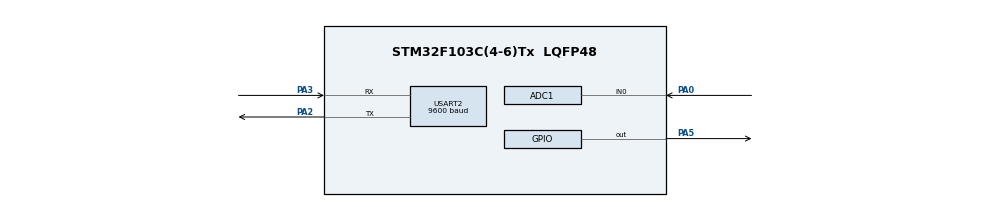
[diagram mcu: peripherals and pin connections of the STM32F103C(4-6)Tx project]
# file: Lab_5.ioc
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ADC1.Channel-0\#ChannelRegularConversion=ADC_CHANNEL_0
ADC1.ContinuousConvMode=ENABLE
ADC1.NbrOfConversionFlag=1
ADC1.Rank-0\#ChannelRegularConversion=1
ADC1.SamplingTime-0\#ChannelRegularConversion=ADC_SAMPLETIME_1CYCLE_5
ADC1.master=1
Mcu.Family=STM32F1
Mcu.Name=STM32F103C(4-6)Tx
Mcu.Package=LQFP48
NVIC.PriorityGroup=NVIC_PRIORITYGROUP_4
NVIC.TIM2_IRQn=true\:0\:0\:false\:false\:true\:true\:true\:true
NVIC.USART2_IRQn=true\:0\:0\:false\:false\:true\:true\:true\:true
PA0-WKUP.Signal=ADCx_IN0
PA2.Mode=Asynchronous
PA2.Signal=USART2_TX
PA3.Mode=Asynchronous
PA3.Signal=USART2_RX
PA5.Signal=GPIO_Output
ProjectManager.HeapSize=0x200
ProjectManager.StackSize=0x400
ProjectManager.TargetToolchain=STM32CubeIDE
RCC.APB1Freq_Value=8000000
RCC.APB2Freq_Value=8000000
SH.ADCx_IN0.0=ADC1_IN0,IN0
TIM2.Period=9
TIM2.Prescaler=7999
USART2.BaudRate=9600
USART2.VirtualMode=VM_ASYNC
VP_SYS_VS_ND.Mode=No_Debug
VP_TIM2_VS_ClockSourceINT.Mode=Internal
board=custom

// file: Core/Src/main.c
/* USER CODE BEGIN Header */
/**
  ******************************************************************************
  * @file           : main.c
  * @brief          : Main program body
  ******************************************************************************
  * @attention
  *
  * Copyright (c) 2025 STMicroelectronics.
  * All rights reserved.
  *
  * This software is licensed under terms that can be found in the LICENSE file
  * in the root directory of this software component.
  * If no LICENSE file comes with this software, it is provided AS-IS.
  *
  ******************************************************************************
  */
/* USER CODE END Header */
#include "main.h"

/* USER CODE BEGIN Includes */
#include "timer.h"
#include "processing.h"
/* USER CODE END Includes */

ADC_HandleTypeDef hadc1;

TIM_HandleTypeDef htim2;

UART_HandleTypeDef huart2;

void SystemClock_Config(void);
static void MX_GPIO_Init(void);
static void MX_ADC1_Init(void);
static void MX_TIM2_Init(void);
static void MX_USART2_UART_Init(void);

int main(void)
{

  /* MCU Configuration--------------------------------------------------------*/

  /* Reset of all peripherals, Initializes the Flash interface and the Systick. */
  HAL_Init();

  /* Configure the system clock */
  SystemClock_Config();

  /* Initialize all configured peripherals */
  MX_GPIO_Init();
  MX_ADC1_Init();
  MX_TIM2_Init();
  MX_USART2_UART_Init();
  /* USER CODE BEGIN 2 */
  HAL_ADC_Start(&hadc1);
  HAL_TIM_Base_Start_IT(&htim2);
  HAL_UART_Receive_IT(&huart2, (uint8_t*)&temp, 1);
  setTimer0(1000);
  /* USER CODE END 2 */

  /* Infinite loop */
  /* USER CODE BEGIN WHILE */
  while (1)
  {
	  if(buffer_flag == 1){
		  buffer_flag = 0;
		  command_parser_fsm();
	  }
	  uart_communiation_fsm();
	  if(timer0_flag == 1){
		  setTimer0(1000);
		  timer0_flag = 0;
		  HAL_GPIO_TogglePin(GPIOA, GPIO_PIN_5);
	  }
    /* USER CODE END WHILE */

  }
}

void SystemClock_Config(void)
{
  RCC_OscInitTypeDef RCC_OscInitStruct = {0};
  RCC_ClkInitTypeDef RCC_ClkInitStruct = {0};
  RCC_PeriphCLKInitTypeDef PeriphClkInit = {0};

  /** Initializes the RCC Oscillators according to the specified parameters
  * in the RCC_OscInitTypeDef structure.
  */
  RCC_OscInitStruct.OscillatorType = RCC_OSCILLATORTYPE_HSI;
  RCC_OscInitStruct.HSIState = RCC_HSI_ON;
  RCC_OscInitStruct.HSICalibrationValue = RCC_HSICALIBRATION_DEFAULT;
  RCC_OscInitStruct.PLL.PLLState = RCC_PLL_NONE;
  if (HAL_RCC_OscConfig(&RCC_OscInitStruct) != HAL_OK)
  {
    Error_Handler();
  }

  /** Initializes the CPU, AHB and APB buses clocks
  */
  RCC_ClkInitStruct.ClockType = RCC_CLOCKTYPE_HCLK|RCC_CLOCKTYPE_SYSCLK
                              |RCC_CLOCKTYPE_PCLK1|RCC_CLOCKTYPE_PCLK2;
  RCC_ClkInitStruct.SYSCLKSource = RCC_SYSCLKSOURCE_HSI;
  RCC_ClkInitStruct.AHBCLKDivider = RCC_SYSCLK_DIV1;
  RCC_ClkInitStruct.APB1CLKDivider = RCC_HCLK_DIV1;
  RCC_ClkInitStruct.APB2CLKDivider = RCC_HCLK_DIV1;

  if (HAL_RCC_ClockConfig(&RCC_ClkInitStruct, FLASH_LATENCY_0) != HAL_OK)
  {
    Error_Handler();
  }
  PeriphClkInit.PeriphClockSelection = RCC_PERIPHCLK_ADC;
  PeriphClkInit.AdcClockSelection = RCC_ADCPCLK2_DIV2;
  if (HAL_RCCEx_PeriphCLKConfig(&PeriphClkInit) != HAL_OK)
  {
    Error_Handler();
  }
}

static void MX_ADC1_Init(void)
{

  ADC_ChannelConfTypeDef sConfig = {0};

  /** Common config
  */
  hadc1.Instance = ADC1;
  hadc1.Init.ScanConvMode = ADC_SCAN_DISABLE;
  hadc1.Init.ContinuousConvMode = ENABLE;
  hadc1.Init.DiscontinuousConvMode = DISABLE;
  hadc1.Init.ExternalTrigConv = ADC_SOFTWARE_START;
  hadc1.Init.DataAlign = ADC_DATAALIGN_RIGHT;
  hadc1.Init.NbrOfConversion = 1;
  if (HAL_ADC_Init(&hadc1) != HAL_OK)
  {
    Error_Handler();
  }

  /** Configure Regular Channel
  */
  sConfig.Channel = ADC_CHANNEL_0;
  sConfig.Rank = ADC_REGULAR_RANK_1;
  sConfig.SamplingTime = ADC_SAMPLETIME_1CYCLE_5;
  if (HAL_ADC_ConfigChannel(&hadc1, &sConfig) != HAL_OK)
  {
    Error_Handler();
  }

}

static void MX_TIM2_Init(void)
{

  TIM_ClockConfigTypeDef sClockSourceConfig = {0};
  TIM_MasterConfigTypeDef sMasterConfig = {0};

  htim2.Instance = TIM2;
  htim2.Init.Prescaler = 7999;
  htim2.Init.CounterMode = TIM_COUNTERMODE_UP;
  htim2.Init.Period = 9;
  htim2.Init.ClockDivision = TIM_CLOCKDIVISION_DIV1;
  htim2.Init.AutoReloadPreload = TIM_AUTORELOAD_PRELOAD_DISABLE;
  if (HAL_TIM_Base_Init(&htim2) != HAL_OK)
  {
    Error_Handler();
  }
  sClockSourceConfig.ClockSource = TIM_CLOCKSOURCE_INTERNAL;
  if (HAL_TIM_ConfigClockSource(&htim2, &sClockSourceConfig) != HAL_OK)
  {
    Error_Handler();
  }
  sMasterConfig.MasterOutputTrigger = TIM_TRGO_RESET;
  sMasterConfig.MasterSlaveMode = TIM_MASTERSLAVEMODE_DISABLE;
  if (HAL_TIMEx_MasterConfigSynchronization(&htim2, &sMasterConfig) != HAL_OK)
  {
    Error_Handler();
  }

}

static void MX_USART2_UART_Init(void)
{

  huart2.Instance = USART2;
  huart2.Init.BaudRate = 9600;
  huart2.Init.WordLength = UART_WORDLENGTH_8B;
  huart2.Init.StopBits = UART_STOPBITS_1;
  huart2.Init.Parity = UART_PARITY_NONE;
  huart2.Init.Mode = UART_MODE_TX_RX;
  huart2.Init.HwFlowCtl = UART_HWCONTROL_NONE;
  huart2.Init.OverSampling = UART_OVERSAMPLING_16;
  if (HAL_UART_Init(&huart2) != HAL_OK)
  {
    Error_Handler();
  }

}

static void MX_GPIO_Init(void)
{
  GPIO_InitTypeDef GPIO_InitStruct = {0};

  /* GPIO Ports Clock Enable */
  __HAL_RCC_GPIOA_CLK_ENABLE();

  /*Configure GPIO pin Output Level */
  HAL_GPIO_WritePin(GPIOA, GPIO_PIN_5, GPIO_PIN_RESET);

  /*Configure GPIO pin : PA5 */
  GPIO_InitStruct.Pin = GPIO_PIN_5;
  GPIO_InitStruct.Mode = GPIO_MODE_OUTPUT_PP;
  GPIO_InitStruct.Pull = GPIO_NOPULL;
  GPIO_InitStruct.Speed = GPIO_SPEED_FREQ_LOW;
  HAL_GPIO_Init(GPIOA, &GPIO_InitStruct);

}

/* USER CODE BEGIN 4 */
void HAL_TIM_PeriodElapsedCallback(TIM_HandleTypeDef *htim){
	TimerRun();
}
/* USER CODE END 4 */

void Error_Handler(void)
{
  __disable_irq();
  while (1)
  {
  }
}
